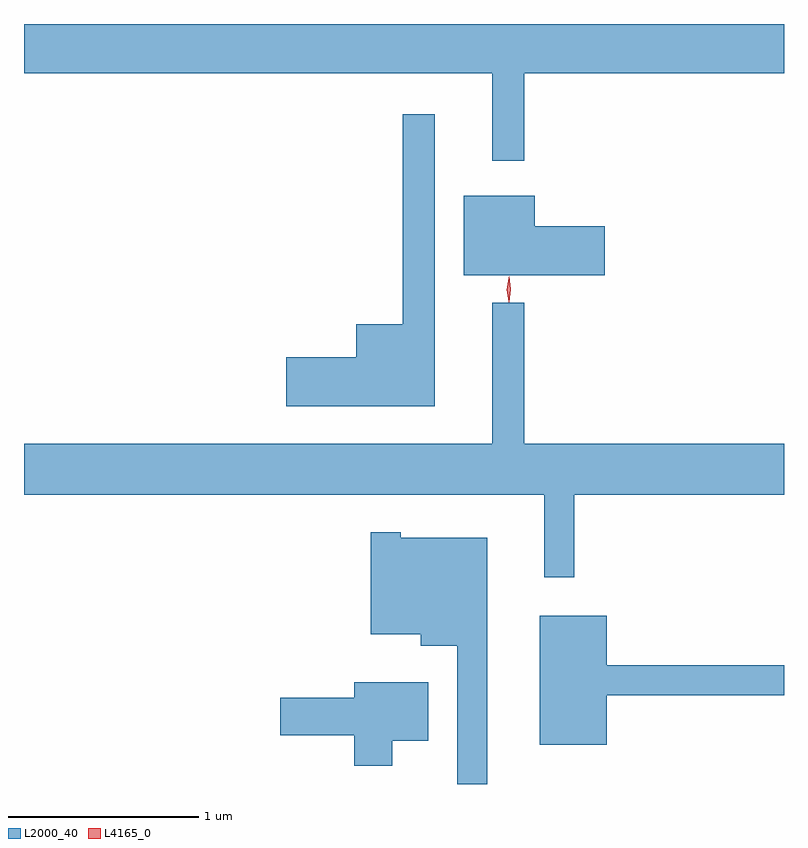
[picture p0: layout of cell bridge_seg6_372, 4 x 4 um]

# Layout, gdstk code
import gdstk
lib = gdstk.Library(unit=1e-6, precision=1e-09)
def P(c, l, *ps):  # polygons
    for p in ps: c.add(gdstk.Polygon(p, *l))
L2000_40 = (2000, 40)
L4165_0 = (4165, 0)

bridge_seg6_372 = lib.new_cell('bridge_seg6_372')
P(bridge_seg6_372, L2000_40, [(958.029,1667.696),(959.397,1667.696),(959.397,1667.954),(955.397,1667.954),(955.397,1667.696),(957.861,1667.696),(957.861,1667.233),(958.029,1667.233)],
  [(957.559,1667.478),(957.391,1667.478),(957.391,1666.374),(957.146,1666.374),(957.146,1666.199),(956.776,1666.199),(956.776,1665.941),(957.559,1665.941)],
  [(958.454,1666.889),(958.084,1666.889),(958.084,1667.049),(957.711,1667.049),(957.711,1666.631),(958.454,1666.631)],
  [(958.294,1665.476),(959.397,1665.476),(959.397,1665.744),(958.029,1665.744),(958.029,1666.488),(957.861,1666.488),(957.861,1665.744),(955.397,1665.744),(955.397,1665.476),(958.136,1665.476),(958.136,1665.043),(958.294,1665.043)],
  [(957.834,1665.249),(957.379,1665.249),(957.379,1665.279),(957.221,1665.279),(957.221,1664.741),(957.486,1664.741),(957.486,1664.681),(957.676,1664.681),(957.676,1663.954),(957.834,1663.954)],
  [(958.464,1664.421),(959.397,1664.421),(959.397,1664.579),(958.464,1664.579),(958.464,1664.839),(958.111,1664.839),(958.111,1664.161),(958.464,1664.161)],
  [(957.334,1664.181),(957.524,1664.181),(957.524,1664.489),(957.136,1664.489),(957.136,1664.409),(956.746,1664.409),(956.746,1664.211),(957.136,1664.211),(957.136,1664.051),(957.334,1664.051)])
P(bridge_seg6_372, L4165_0, [(957.949,1666.49),(957.94,1666.558),(957.95,1666.626),(957.951,1666.626),(957.951,1666.626),(957.96,1666.558),(957.95,1666.49),(957.95,1666.49)],
  [(957.947,1666.493),(957.947,1666.493),(957.937,1666.556),(957.947,1666.619),(957.947,1666.62),(957.948,1666.619),(957.957,1666.556),(957.948,1666.493)])

lib.write_gds('bridge_seg6_372.gds')
